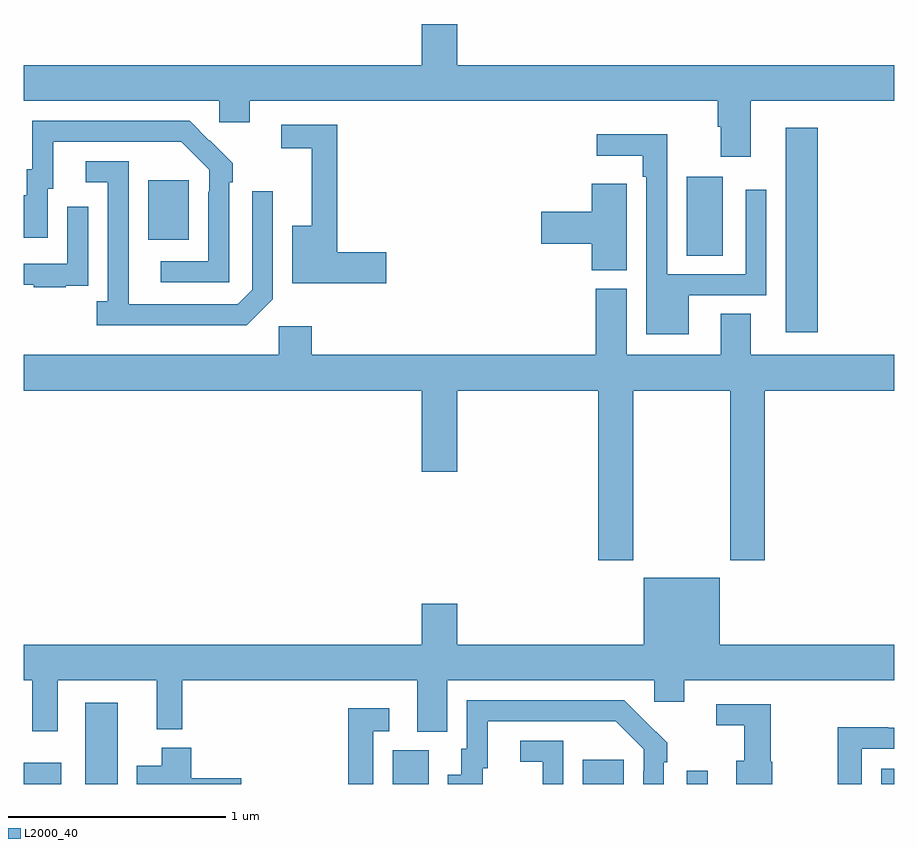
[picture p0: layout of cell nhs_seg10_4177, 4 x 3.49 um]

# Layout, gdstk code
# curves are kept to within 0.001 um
import gdstk
lib = gdstk.Library(unit=1e-6, precision=1e-09)
def R(c, l, rs):  # rectangles x0, y0, x1, y1
    for r in rs: c.add(gdstk.rectangle(r[:2], r[2:], *l))
def P(c, l, *ps):  # polygons
    for p in ps: c.add(gdstk.Polygon(p, *l))
L2000_40 = (2000, 40)

nhs_seg10_4177 = lib.new_cell('nhs_seg10_4177')
R(nhs_seg10_4177, L2000_40, [(343,1306.5,343.171,1306.597), (343.283,1306.5,343.432,1306.873), (344.696,1306.5,344.86,1306.656), (345.569,1306.5,345.757,1306.612), (346.047,1306.5,346.143,1306.561), (346.94,1306.5,347,1306.57), (346.502,1308.576,346.649,1309.516), (346.046,1308.928,346.213,1309.291), (343.571,1309.001,343.759,1309.276)])
P(nhs_seg10_4177, L2000_40, [(346.342,1309.64),(347,1309.64),(347,1309.804),(344.992,1309.804),(344.992,1309.993),(344.828,1309.993),(344.828,1309.804),(343,1309.804),(343,1309.64),(343.899,1309.64),(343.899,1309.542),(344.038,1309.542),(344.038,1309.64),(346.19,1309.64),(346.19,1309.52),(346.202,1309.52),(346.202,1309.383),(346.342,1309.383)],
  [(343.944,1309.265),(343.959,1309.265),(343.959,1309.353),(343.762,1309.548),(343.038,1309.548),(343.038,1309.326),(343.013,1309.326),(343.013,1309.207),(343,1309.207),(343,1309.011),(343.111,1309.011),(343.111,1309.236),(343.135,1309.236),(343.135,1309.452),(343.723,1309.452),(343.851,1309.323),(343.851,1309.223),(343.848,1309.223),(343.848,1308.903),(343.629,1308.903),(343.629,1308.807),(343.944,1308.807)],
  [(344.665,1308.944),(344.441,1308.944),(344.441,1309.53),(344.184,1309.53),(344.184,1309.422),(344.324,1309.422),(344.324,1309.066),(344.234,1309.066),(344.234,1308.802),(344.665,1308.802)],
  [(346.057,1308.747),(346.413,1308.747),(346.413,1309.231),(346.317,1309.231),(346.317,1308.843),(345.957,1308.843),(345.957,1309.486),(345.633,1309.486),(345.633,1309.388),(345.845,1309.388),(345.845,1309.292),(345.861,1309.292),(345.861,1308.566),(346.057,1308.566)],
  [(344.145,1308.729),(344.145,1309.225),(344.049,1309.225),(344.049,1308.771),(343.983,1308.705),(343.483,1308.705),(343.482,1309.362),(343.284,1309.362),(343.284,1309.266),(343.386,1309.266),(343.386,1308.718),(343.335,1308.718),(343.335,1308.608),(344.024,1308.608)],
  [(345.772,1309.145),(345.771,1309.145),(345.771,1309.258),(345.611,1309.258),(345.611,1309.13),(345.378,1309.13),(345.378,1308.983),(345.611,1308.983),(345.611,1308.862),(345.772,1308.862)],
  [(343.193,1308.789),(343.295,1308.789),(343.295,1308.898),(343.296,1308.898),(343.296,1309.153),(343.2,1309.153),(343.2,1308.891),(343,1308.891),(343,1308.795),(343.045,1308.795),(343.045,1308.783),(343.193,1308.783)],
  [(345.801,1308.308),(346.246,1308.308),(346.246,1307.529),(346.406,1307.529),(346.406,1308.308),(347,1308.308),(347,1308.472),(346.342,1308.472),(346.342,1308.662),(346.202,1308.662),(346.202,1308.472),(345.772,1308.472),(345.772,1308.777),(345.629,1308.777),(345.629,1308.472),(344.324,1308.472),(344.324,1308.604),(344.172,1308.604),(344.172,1308.472),(343,1308.472),(343,1308.308),(344.828,1308.308),(344.828,1307.934),(344.992,1307.934),(344.992,1308.308),(345.641,1308.308),(345.641,1307.529),(345.801,1307.529)],
  [(344.947,1306.976),(345.897,1306.976),(345.897,1306.878),(346.036,1306.878),(346.036,1306.976),(347,1306.976),(347,1307.14),(346.198,1307.14),(346.198,1307.449),(345.848,1307.449),(345.848,1307.14),(344.992,1307.14),(344.992,1307.329),(344.828,1307.329),(344.828,1307.14),(343,1307.14),(343,1306.976),(343.039,1306.976),(343.039,1306.743),(343.155,1306.743),(343.155,1306.976),(343.61,1306.976),(343.61,1306.751),(343.727,1306.751),(343.727,1306.976),(344.807,1306.976),(344.807,1306.741),(344.947,1306.741)],
  [(345.109,1306.572),(345.133,1306.572),(345.133,1306.788),(345.721,1306.788),(345.849,1306.659),(345.849,1306.559),(345.846,1306.559),(345.846,1306.5),(345.942,1306.5),(345.942,1306.601),(345.957,1306.601),(345.957,1306.689),(345.76,1306.884),(345.036,1306.884),(345.036,1306.662),(345.011,1306.662),(345.011,1306.543),(344.948,1306.543),(344.948,1306.5),(345.109,1306.5)],
  [(346.44,1306.602),(346.432,1306.602),(346.432,1306.866),(346.182,1306.866),(346.182,1306.769),(346.311,1306.769),(346.311,1306.606),(346.274,1306.606),(346.274,1306.5),(346.44,1306.5)],
  [(344.607,1306.743),(344.68,1306.743),(344.68,1306.849),(344.491,1306.849),(344.491,1306.5),(344.607,1306.5)],
  [(346.852,1306.662),(347,1306.662),(347,1306.758),(346.974,1306.758),(346.974,1306.76),(346.741,1306.76),(346.741,1306.5),(346.852,1306.5)],
  [(345.48,1306.698),(345.282,1306.698),(345.282,1306.602),(345.384,1306.602),(345.384,1306.5),(345.48,1306.5)],
  [(343.999,1306.527),(343.769,1306.527),(343.769,1306.666),(343.634,1306.666),(343.634,1306.585),(343.52,1306.585),(343.52,1306.5),(343.999,1306.5)])

lib.write_gds('nhs_seg10_4177.gds')
